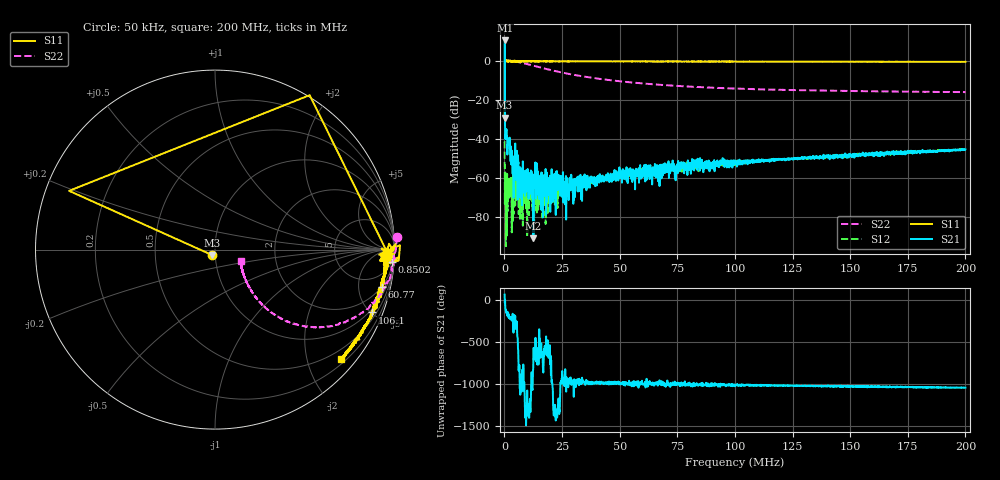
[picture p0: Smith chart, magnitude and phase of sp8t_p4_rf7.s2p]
! 26-Feb-26 11:56:52 AM
! E:\VNA_MEASUREMENTS\SP8T\SP8T_P4_RF7.S2P
! CHANNEL.1
! TR.MEASUREMENT
! CORRECTED.DATA
# GHZ S RI R 50.0
! FREQ.GHZ  S11RE  S11IM  S21RE  S21IM  S12RE  S12IM  S22RE  S22IM
!; PortSelection: Port_12
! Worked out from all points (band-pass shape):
!   2000 points, 50 kHz to 200 MHz, reference 50 ohm
!   highest |S21| = 10.34 dB at 150 kHz (marker M1); lowest = -91.1 dB at 12.55 MHz (marker M2)
!   |S21| within 3 dB of the highest: 140.3 kHz to 156.3 kHz (16.04 kHz wide, 10.8 % of centre)
!   lowest |S11| = -29.2 dB at 50 kHz (marker M3), VSWR 1.07, Z = 48.2 - j2.85 ohm
!   |S11| at or under -10 dB: start of sweep to 118.5 kHz
!   |S22| runs from -16.2 to 0.1 dB; largest |S21 - S12| = 3.3
!   S11 on the Smith chart (normalised r, x): 50 kHz: 0.96, -0.06; 850.2 kHz: 5, -27; 60.77 MHz: 1.91, -8.63; 106.1 MHz: 0.78, -5.08; 200 MHz: 0.30, -2.64
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5e-05  -0.0178 -0.0295  0.0413 0.0859  -0.00608 -0.00598  1.014 0.0726
0.000150025  -0.8129 0.3273  2.735 -1.822  0.000171 0.000132  1.007 -0.00853
0.0008502  0.9846 -0.0702  -0.0162 -0.00669  0.00102 -0.000122  1 -0.0458
0.001350325  0.9785 -0.0254  -0.0066 -0.00245  8.38e-05 -0.00011  0.9885 -0.0907
0.003350825  0.9642 0.0109  -0.000942 0.0022  0.000392 -0.000125  0.9469 -0.2021
0.006551626  0.9485 -0.0278  -0.000996 0.00133  -0.000411 -1.76e-05  0.8404 -0.3366
0.009252301  0.9516 -0.0374  1.19e-05 0.00117  -0.000247 0.000425  0.7265 -0.4058
0.01105275  0.9584 -0.0502  -9.1e-05 -0.000539  -5.1e-05 0.000272  0.658 -0.4233
0.01255313  0.9754 -0.0759  2.16e-05 1.78e-05  -0.000155 0.000243  0.6006 -0.4307
0.01395348  0.9503 -0.047  -0.00206 0.00112  0.00043 -0.000132  0.5578 -0.4341
0.01585395  0.9558 -0.0605  -0.000841 0.000237  -0.000499 0.00032  0.5036 -0.4277
0.02335583  0.9513 -0.0906  -6.01e-05 0.00118  7.6e-06 0.000425  0.3547 -0.3769
0.02655663  0.9493 -0.0959  -0.000101 0.000788  -0.000185 0.000633  0.3158 -0.3513
0.02935733  0.943 -0.1041  -0.000159 0.000634  -0.000332 0.000596  0.2895 -0.3314
0.03345835  0.945 -0.1166  -0.000112 0.000748  -2.82e-05 0.000648  0.2601 -0.3034
0.06076518  0.9299 -0.2082  0.000256 0.00147  6.88e-05 0.00132  0.1784 -0.1856
0.06676668  0.9189 -0.2279  -0.000302 0.00195  1.04e-05 0.0017  0.1717 -0.1699
0.100075  0.8853 -0.3352  0.000862 0.00223  0.000865 0.00193  0.1521 -0.118
0.1060765  0.8772 -0.3504  0.00107 0.00256  0.00121 0.00228  0.1511 -0.1109
0.1333833  0.8344 -0.4309  0.00173 0.00269  0.00182 0.00251  0.1467 -0.0898
0.1666917  0.7743 -0.5261  0.00279 0.00272  0.003 0.00293  0.1439 -0.0739
0.2  0.7005 -0.61  0.00437 0.003  0.00448 0.00272  0.1423 -0.0627
